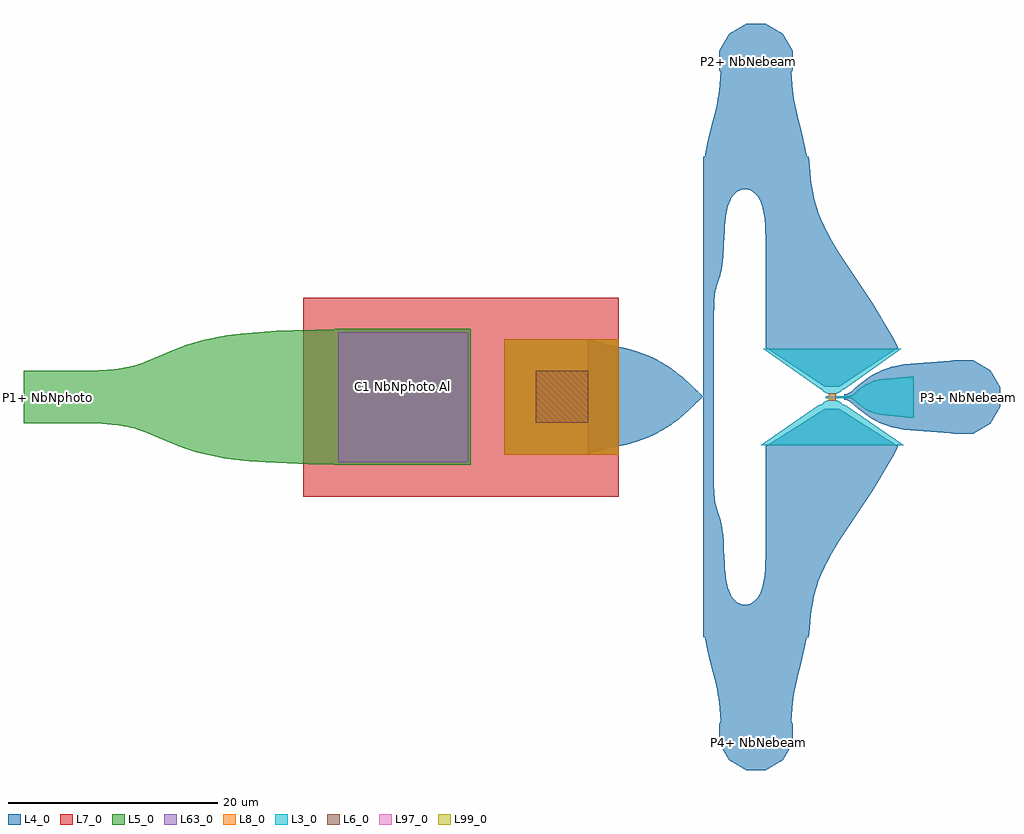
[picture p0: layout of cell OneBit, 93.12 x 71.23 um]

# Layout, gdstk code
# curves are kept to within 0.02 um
from math import pi, radians
import gdstk
lib = gdstk.Library(unit=1e-6, precision=1e-09)
def R(c, l, rs):  # rectangles x0, y0, x1, y1
    for r in rs: c.add(gdstk.rectangle(r[:2], r[2:], *l))
def P(c, l, *ps):  # polygons
    for p in ps: c.add(gdstk.Polygon(p, *l))
L3_0 = (3, 0)
L4_0 = (4, 0)
L5_0 = (5, 0)
L6_0 = (6, 0)
L7_0 = (7, 0)
L8_0 = (8, 0)
L63_0 = (63, 0)
L97_0 = (97, 0)
L99_0 = (99, 0)

optimal_step_1_2_1 = lib.new_cell('Optimal$Step$1$2$1')
P(optimal_step_1_2_1, L4_0, [(0,0),(18.257,0),(18.257,12.677),(16.784,11.874),(14.878,10.745),(12.933,9.506),(10.238,7.718),(8.248,6.462),(7.285,5.921),(6.502,5.53),(5.941,5.282),(4.957,4.919),(4.339,4.736),(3.477,4.535),(2.104,4.316),(0,4.136)])

optimal_180_deg_turn = lib.new_cell('Optimal$180$Deg$Turn')
P(optimal_180_deg_turn, L4_0, [(-4,-4),(-1.972,-4),(-1.919,-2.622),(-1.829,-1.681),(-1.703,-0.983),(-1.487,-0.309),(-1.266,0.11),(-1.127,0.301),(-0.782,0.626),(-0.355,0.832),(0.08,0.88),(0.316,0.843),(0.541,0.764),(0.936,0.502),(1.244,0.143),(1.559,-0.492),(1.745,-1.176),(1.854,-1.876),(1.93,-2.818),(1.972,-4),(4,-4),(4,4),(-4,4)])

circle = lib.new_cell('CIRCLE')
P(circle, L4_0, [(-0.938,-3.5),(0.938,-3.5),(2.562,-2.562),(3.5,-0.938),(3.5,0.938),(2.562,2.562),(0.938,3.5),(-0.938,3.5),(-2.562,2.562),(-3.5,0.938),(-3.5,-0.938),(-2.562,-2.562)])

optimal_step_22 = lib.new_cell('Optimal$Step$22')
P(optimal_step_22, L4_0, [(8.785,-4.875),(8.785,4.875),(7.5,4.629),(4.493,3.892),(3.197,3.632),(1.907,3.463),(0,3.331),(0,-3.331),(1.907,-3.463),(3.197,-3.632),(4.493,-3.892),(7.074,-4.534)])

optimal_step_2_1_1 = lib.new_cell('Optimal$Step$2$1$1')
P(optimal_step_2_1_1, L4_0, [(10.75,-3.5),(10.75,3.5),(5.761,3.129),(4.563,2.868),(3.6,2.536),(2.737,2.106),(1.917,1.557),(0.567,0.447),(0.393,0.343),(0.202,0.281),(0,0.259),(0,-0.259),(0.202,-0.281),(0.393,-0.343),(0.567,-0.447),(1.917,-1.557),(2.737,-2.106),(3.378,-2.438),(4.175,-2.75),(5.063,-2.994),(5.761,-3.129)])

ntron = lib.new_cell('nTron')
P(ntron, L4_0, [(-16.09,0),(0,0),(0,1),(-7.69,1.004),(-9.359,1.051),(-10.105,1.156),(-11.849,1.67),(-12.693,1.825),(-14.243,1.948),(-16.09,1.988)],
  [(0,0),(16.09,0),(16.09,1.988),(13.778,1.925),(12.693,1.825),(11.849,1.67),(10.105,1.156),(9.308,1.047),(8.469,1.013),(0,1)],
  [(-5.5,-11.05),(5.4,-11.05),(4.835,-8.822),(4.543,-7.361),(4.284,-6.422),(4.047,-5.735),(3.633,-4.768),(3.134,-3.847),(2.35,-2.7),(1.477,-1.651),(0.038,-0.14),(-0.02,0),(-0.08,0),(-0.092,-0.08),(-0.161,-0.166),(-1.367,-1.42),(-2.291,-2.494),(-3.093,-3.62),(-3.733,-4.768),(-4.147,-5.735),(-4.384,-6.422),(-4.643,-7.361),(-4.935,-8.822)])

ntron_0 = lib.new_cell('ntron_0')
ntron_0.add(gdstk.Reference(ntron, (0,0), rotation=3*pi/2))

optimal_step_4_2 = lib.new_cell('Optimal$Step$4$2')
P(optimal_step_4_2, L3_0, [(8.4,-2),(8.4,2),(5.154,1.71),(4.748,1.603),(4.083,1.34),(3.83,1.204),(3.352,0.882),(2.56,0.204),(2.381,0.113),(0,0.1),(0,-0.1),(2.381,-0.113),(2.56,-0.204),(3.352,-0.882),(3.83,-1.204),(4.465,-1.506),(5.154,-1.71)])

ntron_cshepad = lib.new_cell('ntron_CSHEpad')
P(ntron_cshepad, L3_0, [(-0.44,0.3),(0.44,0.3),(0.8,0.5),(1,0.75),(-1,0.75),(-0.8,0.5)],
  [(-1,-0.75),(1,-0.75),(0.8,-0.5),(0.44,-0.3),(-0.44,-0.3),(-0.8,-0.5)],
  [(-1.087,0.75),(1.136,0.75),(6.6,4.6),(-6.6,4.6)],
  [(-6.8,-4.6),(6.8,-4.6),(1.19,-0.75),(-1.22,-0.75)])
R(ntron_cshepad, L97_0, [(-0.35,-0.35,0.35,0.35)])
R(ntron_cshepad, L99_0, [(-0.3,-0.3,0.3,0.3)])
ntron_cshepad.add(gdstk.Reference(optimal_step_4_2, (-0.617,0)))

cshe = lib.new_cell('CSHE')
P(cshe, L4_0, [(-6.365,-4.685),(6.315,-4.685),(6.315,-4.68),(0.663,-1.1),(-0.723,-1.1),(-6.365,-4.674)],
  [(-0.723,1),(0.663,1),(6.315,4.69),(6.315,4.695),(-6.365,4.695),(-6.365,4.684)])
cshe.add(gdstk.Reference(optimal_step_1_2_1, (-6.365,-22.935), rotation=pi/2, x_reflection=True))
cshe.add(gdstk.Reference(optimal_step_1_2_1, (-6.365,22.945), rotation=3*pi/2))
cshe.add(gdstk.Reference(optimal_180_deg_turn, (-8.315,-18.935), x_reflection=True))
cshe.add(gdstk.Reference(optimal_180_deg_turn, (-8.315,18.945)))
cshe.add(gdstk.Reference(circle, (-7.29,-32.11), x_reflection=True))
cshe.add(gdstk.Reference(circle, (-7.29,32.12)))
cshe.add(gdstk.Reference(optimal_step_22, (-7.284,-31.541), rotation=pi/2))
cshe.add(gdstk.Reference(circle, (12.505,0)))
cshe.add(gdstk.Reference(optimal_step_2_1_1, (1.128,0)))
cshe.add(gdstk.Reference(optimal_step_22, (-7.284,31.651), rotation=3*pi/2, x_reflection=True))
cshe.add(gdstk.Reference(ntron_0, (-12.3,0)))
cshe.add(gdstk.Reference(ntron_cshepad, (0,0)))

via_nbnphoto_al = lib.new_cell('via_NbNphoto_Al')
R(via_nbnphoto_al, L5_0, [(-5.602,-5.507,5.36,5.527)])
R(via_nbnphoto_al, L6_0, [(-2.584,-2.472,2.416,2.528)])
R(via_nbnphoto_al, L7_0, [(-5.602,-5.507,5.36,5.527)])
R(via_nbnphoto_al, L8_0, [(-5.602,-5.507,5.36,5.527)])

optimal_step_1_1_1 = lib.new_cell('Optimal$Step$1$1$1')
P(optimal_step_1_1_1, L5_0, [(29.709,-6.448),(29.709,6.448),(25.761,6.366),(22.406,6.198),(20.664,6.041),(18.648,5.758),(17.202,5.458),(15.841,5.078),(14.665,4.663),(12.061,3.548),(11.236,3.225),(10.197,2.916),(8.99,2.702),(7.923,2.604),(5.673,2.525),(0,2.5),(0,-2.5),(4.653,-2.513),(7.465,-2.578),(8.99,-2.702),(9.837,-2.837),(10.899,-3.111),(12.061,-3.548),(13.946,-4.372),(15.309,-4.9),(16.879,-5.377),(18.214,-5.678),(20.124,-5.978),(21.52,-6.127),(23.049,-6.242),(25.131,-6.344)])

capacitor = lib.new_cell('Capacitor')
R(capacitor, L5_0, [(1.248,-6.458,14.248,6.495)])
R(capacitor, L7_0, [(-1.741,-9.493,28.381,9.492)])
R(capacitor, L63_0, [(1.6,-6.2,14,6.2)])
capacitor.add(gdstk.Reference(via_nbnphoto_al, (23.021,0)))
capacitor.add(gdstk.Reference(optimal_step_1_1_1, (-28.381,0.008)))

onebit = lib.new_cell('OneBit')
onebit.add(gdstk.Reference(cshe, (0,0)))
onebit.add(gdstk.Reference(capacitor, (-48.738,0)))
onebit.add(gdstk.Label('C1 NbNphoto Al', (-41,1), layer=64, texttype=0))
onebit.add(gdstk.Label('P4+ NbNebeam', (-7,-33), layer=64, texttype=0))
onebit.add(gdstk.Label('P3+ NbNebeam', (13,0), layer=64, texttype=0))
onebit.add(gdstk.Label('P2+ NbNebeam', (-8,32), layer=64, texttype=0))
onebit.add(gdstk.Label('P1+ NbNphoto', (-76,0), layer=64, texttype=0))

lib.write_gds('OneBit.gds')
